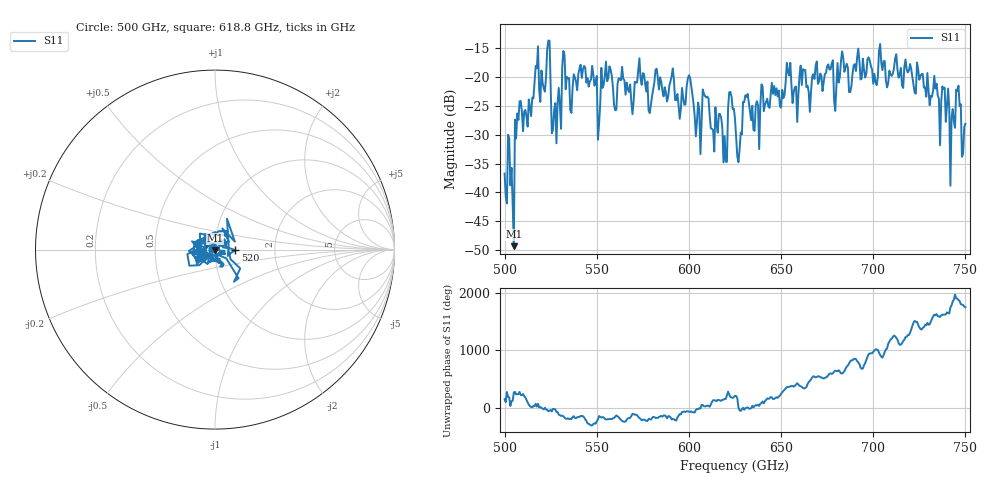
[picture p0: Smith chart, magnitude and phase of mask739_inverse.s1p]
!Created with skrf (http://scikit-rf.org).
# GHz S MA R 50.0
!freq magS11 angS11
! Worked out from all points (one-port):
!   401 points, 500 GHz to 750 GHz, reference 50 ohm
!   lowest |S11| = -49.3 dB at 505 GHz (marker M1), VSWR 1.01, Z = 50 - j0.34 ohm
!   |S11| at or under -10 dB: start of sweep to end of sweep
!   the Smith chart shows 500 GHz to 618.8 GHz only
!   S11 on the Smith chart (normalised r, x): 500 GHz: 0.97, +0.01; 520 GHz: 1.26, -0.01; 618.8 GHz: 0.97, +0.02
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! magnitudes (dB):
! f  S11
! 500 GHz  -36.7
! 505 GHz  -49.3
! 508.1 GHz  -24.2
! 520 GHz  -18.9
! 523.8 GHz  -13.6
! 526.9 GHz  -25.8
! 531.2 GHz  -18.2
! 542.5 GHz  -18.7
! 550.6 GHz  -30.9
! 562.5 GHz  -20.4
! 590.6 GHz  -19.8
! 593.8 GHz  -22.9
! 600 GHz  -19.7
! 605 GHz  -24.4
! 608.8 GHz  -23.3
! 618.8 GHz  -34.8
! 622.5 GHz  -22.6
! 625 GHz  -27.2
! 627.5 GHz  -32.5
! 630.6 GHz  -23.2
! 634.4 GHz  -25.0
! 656.2 GHz  -24.5
! 687.5 GHz  -22.6
! 718.8 GHz  -19.2
! 739.4 GHz  -27.8
! 743.1 GHz  -25.6
! 746.2 GHz  -21.5
! 750 GHz  -28.1
